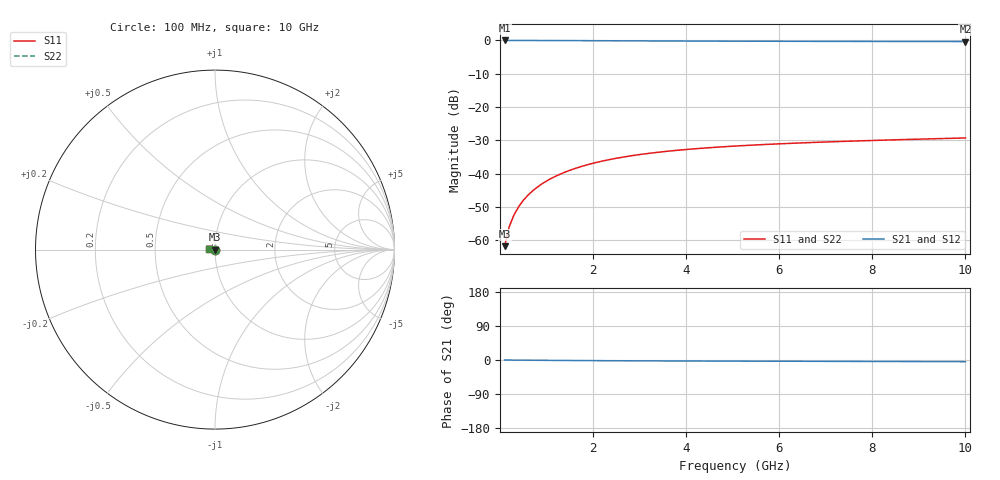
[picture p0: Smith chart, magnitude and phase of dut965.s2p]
! Touchstone file exported from HFSS 2024.1.0
!  File:  C:/UserFiles/LocalFiles/RDL_TSV_Batchsim/temp_TSV1_965_1779950636.aedt
!  Generated:  02:49:35 PM May 28, 2026
!  Design:  TSV1
!  Project:  temp_TSV1_965_1779950636
!  Setup:  Setup1
!  Solution:  Sweep
! Variables:
!  dtsv = 7.61um
!  hbump = 3um
!  htsv = 67.21um
!  lrdl = 252.1521522um
!  p = 40
!  p1 = 44.07um
!  t = 500um
!  trdl = 3um
!  wrdl = 24.89489489um
# GHz S MA R 50.000000
! Terminal data exported
! Port[1] = TSV22_T1
! Port[2] = TSV22_T2
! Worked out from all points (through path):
!   100 points, 100 MHz to 10 GHz, reference 50 ohm
!   highest |S21| = 0.00 dB at 100 MHz (marker M1); lowest = -0.3 dB at 10 GHz (marker M2)
!   lowest |S11| = -61.7 dB at 100 MHz (marker M3), VSWR 1.00, Z = 50 - j0.0795 ohm
!   |S11| at or under -10 dB: start of sweep to end of sweep
!   |S22| runs from -61.7 to -29.3 dB; largest |S21 - S12| = 6.1e-15
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0.1  0.0008198 -75.8  0.9997 -0.1  0.9997 -0.1  0.0008198 -75.8
! Gamma 0 0 0 0
! Port Impedance 50 0 50 0
0.2  0.001609 -85.3  0.9997 -0.2  0.9997 -0.2  0.001609 -85.3
0.3  0.002402 -89.8  0.9995 -0.3  0.9995 -0.3  0.002402 -89.8
0.4  0.003192 -92.9  0.9993 -0.4  0.9993 -0.4  0.003192 -92.9
0.5  0.003977 -95.5  0.9991 -0.5  0.9991 -0.5  0.003977 -95.5
0.6  0.004755 -97.8  0.9988 -0.6  0.9988 -0.6  0.004755 -97.8
0.7  0.005525 -100.0  0.9985 -0.6  0.9985 -0.6  0.005525 -100.0
0.8  0.006286 -102.0  0.9982 -0.7  0.9982 -0.7  0.006286 -102.0
0.9  0.007036 -103.9  0.9978 -0.8  0.9978 -0.8  0.007036 -103.9
1.1  0.008499 -107.6  0.9969 -1.0  0.9969 -1.0  0.008499 -107.6
1.4  0.01059 -112.9  0.9953 -1.2  0.9953 -1.2  0.01059 -112.9
1.6  0.01191 -116.2  0.9942 -1.4  0.9942 -1.4  0.01191 -116.2
1.8  0.01317 -119.4  0.9929 -1.5  0.9929 -1.5  0.01317 -119.4
2.1  0.01494 -124.0  0.991 -1.7  0.991 -1.7  0.01494 -124.0
2.5  0.01707 -129.7  0.9884 -1.9  0.9884 -1.9  0.01707 -129.7
2.9  0.01896 -134.9  0.9859 -2.2  0.9859 -2.2  0.01896 -134.9
3.4  0.02102 -141.0  0.9829 -2.4  0.9829 -2.4  0.02102 -141.0
4.2  0.02373 -149.6  0.9786 -2.7  0.9786 -2.7  0.02373 -149.6
5.1  0.02615 -157.9  0.9747 -3.0  0.9747 -3.0  0.02615 -157.9
6.7  0.02944 -170.0  0.9696 -3.5  0.9696 -3.5  0.02944 -170.0
8.4  0.03218 179.6  0.9659 -3.9  0.9659 -3.9  0.03218 179.6
10  0.03444 171.4  0.9635 -4.4  0.9635 -4.4  0.03444 171.4
